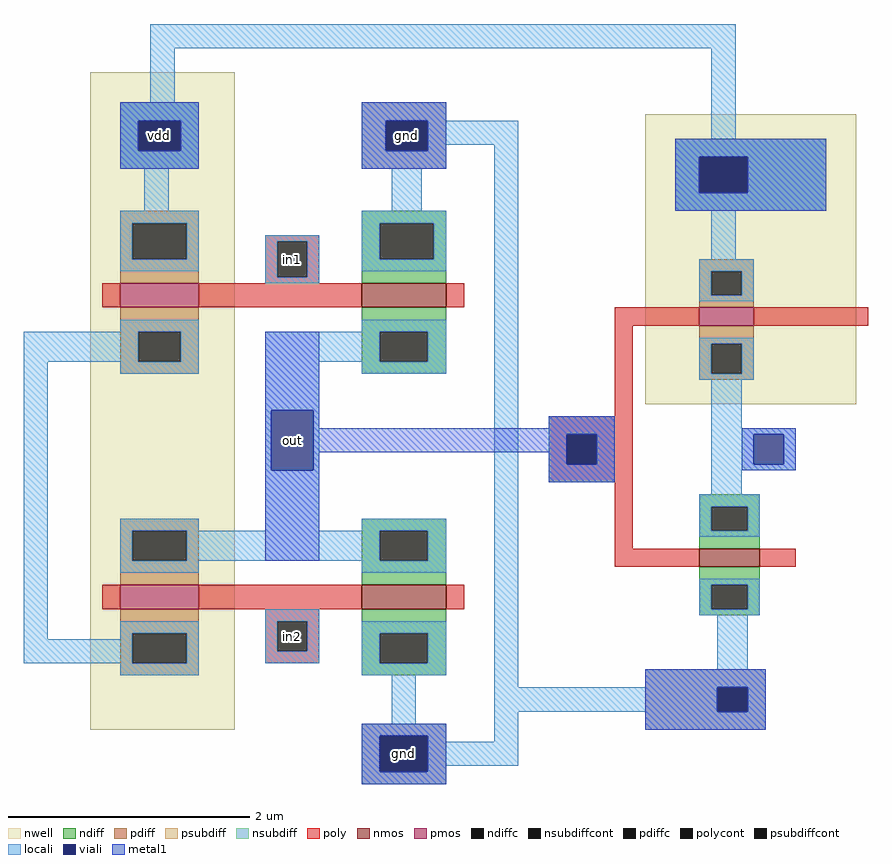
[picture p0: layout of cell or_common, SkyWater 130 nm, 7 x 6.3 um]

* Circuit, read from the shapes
.subckt or_common gnd in1 in2 out vdd
XM1 out in2 gnd gnd sky130_fd_pr__nfet_01v8 w=0.7 l=0.2
XM2 gnd in1 out gnd sky130_fd_pr__nfet_01v8 w=0.7 l=0.2
XM3 inv2_0/out out gnd gnd sky130_fd_pr__nfet_01v8 w=0.5 l=0.15
XM4 out in2 n1 vdd sky130_fd_pr__pfet_01v8 w=0.65 l=0.2
XM5 vdd in1 n1 vdd sky130_fd_pr__pfet_01v8 w=0.65 l=0.2
XM6 vdd out inv2_0/out vdd sky130_fd_pr__pfet_01v8 w=0.45 l=0.15
.ends

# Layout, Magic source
magic #  THIS IS OR GATE!!
tech sky130A
<< nwell >>
rect -230 -460 -110 85
<< nmos >>
rect -5 -110 65 -90
rect -5 -360 65 -340
<< pmos >>
rect -205 -110 -140 -90
rect -205 -360 -140 -340
<< ndiff >>
rect -5 -40 65 -30
rect -5 -70 10 -40
rect 55 -70 65 -40
rect -5 -90 65 -70
rect -5 -130 65 -110
rect -5 -155 10 -130
rect 50 -155 65 -130
rect -5 -165 65 -155
rect -5 -295 65 -285
rect -5 -320 10 -295
rect 50 -320 65 -295
rect -5 -340 65 -320
rect -5 -380 65 -360
rect -5 -405 10 -380
rect 50 -405 65 -380
rect -5 -415 65 -405
<< pdiff >>
rect -205 -40 -140 -30
rect -205 -70 -195 -40
rect -150 -70 -140 -40
rect -205 -90 -140 -70
rect -205 -130 -140 -110
rect -205 -155 -190 -130
rect -155 -155 -140 -130
rect -205 -165 -140 -155
rect -205 -295 -140 -285
rect -205 -320 -195 -295
rect -150 -320 -140 -295
rect -205 -340 -140 -320
rect -205 -380 -140 -360
rect -205 -405 -195 -380
rect -150 -405 -140 -380
rect -205 -415 -140 -405
<< ndiffc >>
rect 10 -70 55 -40
rect 10 -155 50 -130
rect 10 -320 50 -295
rect 10 -405 50 -380
<< pdiffc >>
rect -195 -70 -150 -40
rect -190 -155 -155 -130
rect -195 -320 -150 -295
rect -195 -405 -150 -380
<< psubdiff >>
rect -5 45 65 60
rect -5 20 15 45
rect 50 20 65 45
rect -5 5 65 20
rect -5 -465 65 -455
rect -5 -495 10 -465
rect 50 -495 65 -465
rect -5 -505 65 -495
<< nsubdiff >>
rect -205 45 -140 60
rect -205 20 -190 45
rect -155 20 -140 45
rect -205 5 -140 20
<< psubdiffcont >>
rect 15 20 50 45
rect 10 -495 50 -465
<< nsubdiffcont >>
rect -190 20 -155 45
<< poly >>
rect -85 -55 -40 -50
rect -85 -85 -75 -55
rect -50 -85 -40 -55
rect -85 -90 -40 -85
rect -220 -110 -205 -90
rect -140 -110 -5 -90
rect 65 -110 80 -90
rect -220 -360 -205 -340
rect -140 -360 -5 -340
rect 65 -360 80 -340
rect -85 -370 -40 -360
rect -85 -395 -75 -370
rect -50 -395 -40 -370
rect -85 -405 -40 -395
<< polycont >>
rect -75 -85 -50 -55
rect -75 -395 -50 -370
<< locali >>
rect -180 105 305 125
rect -180 60 -160 105
rect -205 45 -140 60
rect -205 20 -190 45
rect -155 20 -140 45
rect -205 5 -140 20
rect -5 45 65 60
rect -5 20 15 45
rect 50 25 125 45
rect 50 20 65 25
rect -5 5 65 20
rect -185 -30 -165 5
rect 20 -30 45 5
rect -205 -40 -140 -30
rect -205 -70 -195 -40
rect -150 -70 -140 -40
rect -5 -40 65 -30
rect -205 -80 -140 -70
rect -85 -55 -40 -50
rect -85 -85 -75 -55
rect -50 -85 -40 -55
rect -5 -70 10 -40
rect 55 -70 65 -40
rect -5 -80 65 -70
rect -85 -90 -40 -85
rect -205 -130 -140 -120
rect -5 -130 65 -120
rect -285 -155 -190 -130
rect -155 -155 -140 -130
rect -285 -385 -265 -155
rect -205 -165 -140 -155
rect -85 -155 10 -130
rect 50 -155 65 -130
rect -85 -195 -40 -155
rect -5 -165 65 -155
rect -85 -245 -80 -195
rect -45 -245 -40 -195
rect -205 -295 -140 -285
rect -85 -295 -40 -245
rect -5 -295 65 -285
rect -205 -320 -195 -295
rect -150 -320 10 -295
rect 50 -320 65 -295
rect -205 -330 -140 -320
rect -5 -330 65 -320
rect -85 -370 -40 -360
rect -205 -380 -140 -370
rect -205 -385 -195 -380
rect -285 -405 -195 -385
rect -150 -405 -140 -380
rect -85 -395 -75 -370
rect -50 -395 -40 -370
rect -85 -405 -40 -395
rect -5 -380 65 -370
rect -5 -405 10 -380
rect 50 -405 65 -380
rect -205 -415 -140 -405
rect -5 -415 65 -405
rect 20 -455 40 -415
rect 105 -425 125 25
rect 285 15 305 105
rect 105 -445 230 -425
rect -5 -465 65 -455
rect -5 -495 10 -465
rect 50 -470 65 -465
rect 105 -470 125 -445
rect 50 -490 125 -470
rect 50 -495 65 -490
rect -5 -505 65 -495
<< viali >>
rect -190 20 -155 45
rect 15 20 50 45
rect -80 -245 -45 -195
rect 165 -240 190 -215
rect 10 -495 50 -465
<< metal1 >>
rect -205 45 -140 60
rect -205 20 -190 45
rect -155 20 -140 45
rect -205 5 -140 20
rect -5 45 65 60
rect -5 20 15 45
rect 50 20 65 45
rect -5 5 65 20
rect -85 -195 -40 -130
rect -85 -245 -80 -195
rect -45 -210 -40 -195
rect 150 -210 205 -200
rect -45 -215 205 -210
rect -45 -230 165 -215
rect -45 -245 -40 -230
rect -85 -320 -40 -245
rect 150 -240 165 -230
rect 190 -240 205 -215
rect 150 -255 205 -240
rect -5 -465 65 -455
rect -5 -495 10 -465
rect 50 -495 65 -465
rect -5 -505 65 -495
use inv2  inv2_0 /foss/designs/eda/inverter
transform 1 0 290 0 1 -125
box -140 -335 125 175
<< labels >>
rlabel metal1 10 -495 50 -465 7 gnd
rlabel metal1 15 20 50 45 7 gnd
rlabel polycont -75 -395 -50 -370 7 in2
rlabel viali -80 -245 -45 -195 7 out
rlabel polycont -75 -85 -50 -55 7 in1
rlabel nwell -190 20 -155 45 7 vdd
<< end >>

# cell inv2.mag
magic #  THIS IS INVERTER GATE!!
tech sky130A
<< nwell >>
rect -60 -65 115 175
<< nmos >>
rect -15 -200 35 -185
<< pmos >>
rect -15 0 30 15
<< ndiff >>
rect -15 -150 35 -140
rect -15 -170 -5 -150
rect 25 -170 35 -150
rect -15 -185 35 -170
rect -15 -215 35 -200
rect -15 -235 -5 -215
rect 25 -235 35 -215
rect -15 -240 35 -235
<< pdiff >>
rect -15 45 30 55
rect -15 25 -5 45
rect 20 25 30 45
rect -15 15 30 25
rect -15 -15 30 0
rect -15 -40 -5 -15
rect 20 -40 30 -15
rect -15 -45 30 -40
<< ndiffc >>
rect -5 -170 25 -150
rect -5 -235 25 -215
<< pdiffc >>
rect -5 25 20 45
rect -5 -40 20 -15
<< psubdiff >>
rect -60 -300 40 -285
rect -60 -320 0 -300
rect 25 -320 40 -300
rect -60 -335 40 -320
<< nsubdiff >>
rect -35 140 90 155
rect -35 110 -15 140
rect 25 110 90 140
rect -35 95 90 110
<< psubdiffcont >>
rect 0 -320 25 -300
<< nsubdiffcont >>
rect -15 110 25 140
<< poly >>
rect -85 0 -15 15
rect 30 0 125 15
rect -85 -75 -70 0
rect -140 -90 -70 -75
rect -140 -115 -125 -90
rect -100 -115 -70 -90
rect -140 -130 -70 -115
rect -85 -185 -70 -130
rect -85 -200 -15 -185
rect 35 -200 65 -185
<< polycont >>
rect -125 -115 -100 -90
<< locali >>
rect -35 140 90 155
rect -35 110 -15 140
rect 25 110 90 140
rect -35 95 90 110
rect -5 55 15 95
rect -15 45 30 55
rect -15 25 -5 45
rect 20 25 30 45
rect -15 20 30 25
rect -15 -15 30 -10
rect -15 -40 -5 -15
rect 20 -40 30 -15
rect -15 -45 30 -40
rect -140 -90 -85 -75
rect -140 -115 -125 -90
rect -100 -115 -85 -90
rect -140 -130 -85 -115
rect -5 -85 20 -45
rect -5 -90 65 -85
rect -5 -115 30 -90
rect 55 -115 65 -90
rect -5 -120 65 -115
rect -5 -140 20 -120
rect -15 -150 35 -140
rect -15 -170 -5 -150
rect 25 -170 35 -150
rect -15 -175 35 -170
rect -15 -215 35 -210
rect -15 -235 -5 -215
rect 25 -235 35 -215
rect -15 -240 35 -235
rect 0 -285 25 -240
rect -60 -300 40 -285
rect -60 -320 0 -300
rect 25 -320 40 -300
rect -60 -335 40 -320
<< viali >>
rect -15 110 25 140
rect 30 -115 55 -90
rect 0 -320 25 -300
<< metal1 >>
rect -35 140 90 155
rect -35 110 -15 140
rect 25 110 90 140
rect -35 95 90 110
rect 20 -90 65 -85
rect 20 -115 30 -90
rect 55 -115 65 -90
rect 20 -120 65 -115
rect -60 -300 40 -285
rect -60 -320 0 -300
rect 25 -320 40 -300
rect -60 -335 40 -320
<< labels >>
rlabel viali 30 -115 55 -90 1 out
rlabel polycont -125 -115 -100 -90 1 in
rlabel nwell -15 110 25 140 1 vdd
rlabel metal1 0 -320 25 -300 1 gnd
<< end >>
